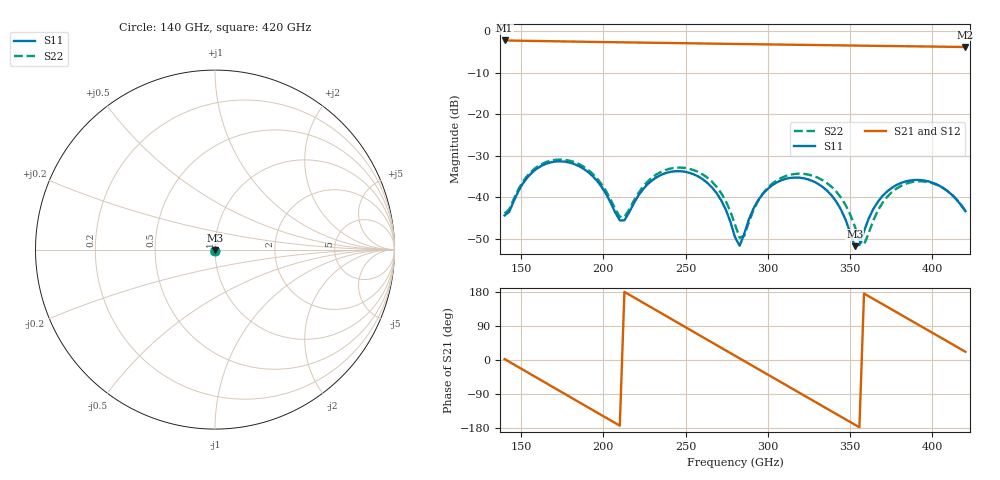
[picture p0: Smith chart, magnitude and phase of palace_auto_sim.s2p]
#  GHZ S DB R 50
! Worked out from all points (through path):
!   101 points, 140 GHz to 420 GHz, reference 50 ohm
!   highest |S21| = -2.25 dB at 140 GHz (marker M1); lowest = -3.8 dB at 420 GHz (marker M2)
!   group delay of S21, straight-line fit = 6.95 ps
!   lowest |S11| = -51.7 dB at 352.8 GHz (marker M3), VSWR 1.01, Z = 50 - j0.258 ohm
!   |S11| at or under -10 dB: start of sweep to end of sweep
!   |S22| runs from -51.3 to -30.9 dB; largest |S21 - S12| = 1.2e-13
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140  -44.33 -78.8  -2.25 2.4  -2.25 2.4  -43.83 -77.7
162.4  -32.39 -46.7  -2.39 -53.9  -2.39 -53.9  -31.99 -47.7
176.4  -31.38 -75.2  -2.48 -89.1  -2.48 -89.1  -30.94 -76.1
187.6  -33.00 -97.9  -2.55 -117.2  -2.55 -117.2  -32.50 -98.7
210  -45.51 -87.4  -2.69 -173.3  -2.69 -173.3  -44.63 -89.4
235.2  -34.54 -55.4  -2.83 123.5  -2.83 123.5  -33.81 -57.1
249.2  -33.79 -83.9  -2.91 88.4  -2.91 88.4  -32.89 -85.5
263.2  -36.49 -112.7  -2.99 53.3  -2.99 53.3  -35.25 -114.4
271.6  -40.68 -125.9  -3.04 32.3  -3.04 32.3  -38.95 -128.2
280  -49.55 -110.3  -3.09 11.3  -3.09 11.3  -46.53 -122.6
282.8  -51.60 -73.1  -3.10 4.3  -3.10 4.3  -49.68 -98.6
285.6  -48.77 -41.2  -3.12 -2.7  -3.12 -2.7  -49.23 -61.6
294  -40.71 -31.6  -3.16 -23.7  -3.16 -23.7  -40.84 -37.0
302.4  -37.12 -45.5  -3.21 -44.7  -3.21 -44.7  -36.75 -48.9
316.4  -35.21 -74.8  -3.28 -79.7  -3.28 -79.7  -34.34 -77.4
327.6  -36.13 -98.6  -3.34 -107.7  -3.34 -107.7  -34.82 -101.4
341.6  -41.04 -123.7  -3.41 -142.6  -3.41 -142.6  -38.63 -128.5
352.8  -51.71 -95.2  -3.47 -170.6  -3.47 -170.6  -47.00 -131.1
358.4  -48.10 -37.2  -3.50 175.4  -3.50 175.4  -51.34 -78.6
375.2  -37.71 -48.1  -3.59 133.5  -3.59 133.5  -38.78 -52.1
397.6  -36.14 -93.6  -3.71 77.6  -3.71 77.6  -36.32 -95.6
420  -43.29 -121.3  -3.82 21.7  -3.82 21.7  -43.22 -122.1
